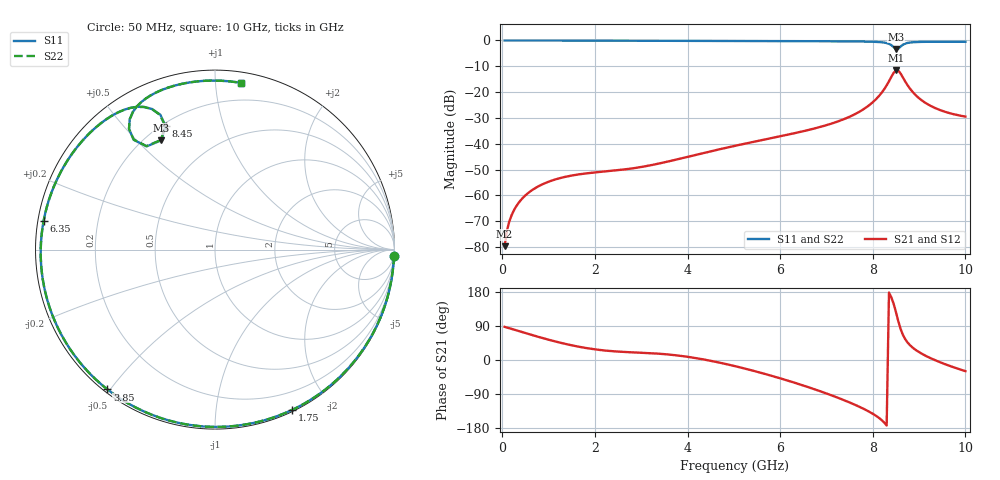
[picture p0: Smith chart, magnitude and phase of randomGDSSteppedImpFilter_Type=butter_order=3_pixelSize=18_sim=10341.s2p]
! freq	dB(S11)	phase(S11)	dB(S12)	phase(S12)
!  dB(S21)	phase(S21)	dB(S22)	phase(S22)
!S-par simulation data
#  GHz  S  DB  R 50
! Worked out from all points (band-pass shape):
!   200 points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, 50 MHz to 10 GHz, reference 50 ohm
!   highest |S21| = -11.56 dB at 8.5 GHz (marker M1); lowest = -79.7 dB at 50 MHz (marker M2)
!   |S21| within 3 dB of the highest: 8.388 GHz to 8.657 GHz (269.5 MHz wide, 3.16 % of centre)
!   lowest |S11| = -3.4 dB at 8.5 GHz (marker M3), VSWR 5.22, Z = 13.1 + j29.6 ohm
!   |S11| at or under -10 dB: nowhere
!   |S22| runs from -3.3 to 0.0 dB; largest |S21 - S12| = 0
!   S11 on the Smith chart (normalised r, x): 50 MHz: 4, -59; 1.75 GHz: 0.02, -1.59; 3.85 GHz: 0.01, -0.49; 6.35 GHz: 0.02, +0.08; 8.45 GHz: 0.21, +0.66; 10 GHz: 0.07, +1.16
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0.05  -0.02 -1.9  -79.68 87.5  -79.68 87.5  -0.02 -1.9
0.1  -0.02 -3.8  -73.71 85.8  -73.71 85.8  -0.02 -3.8
0.2  -0.02 -7.7  -67.74 82.2  -67.74 82.2  -0.02 -7.7
0.5  -0.03 -19.1  -60.00 71.0  -60.00 71.0  -0.03 -19.1
1  -0.05 -37.8  -54.72 53.5  -54.72 53.5  -0.05 -37.7
1.75  -0.08 -64.3  -51.64 32.8  -51.64 32.8  -0.08 -64.3
2.55  -0.11 -90.3  -50.15 21.8  -50.15 21.8  -0.11 -90.3
3.4  -0.13 -115.3  -47.62 16.5  -47.62 16.5  -0.13 -115.2
3.85  -0.15 -127.6  -45.75 10.9  -45.75 10.9  -0.15 -127.5
5.05  -0.20 -158.1  -40.72 -17.0  -40.72 -17.0  -0.20 -158.1
6.35  -0.28 170.5  -35.78 -61.4  -35.78 -61.4  -0.28 170.6
6.7  -0.31 162.0  -34.29 -75.5  -34.29 -75.5  -0.31 162.1
7.75  -0.43 135.2  -27.22 -125.7  -27.22 -125.7  -0.43 135.3
8.1  -0.59 124.5  -22.20 -149.8  -22.20 -149.8  -0.59 124.6
8.35  -1.33 114.1  -15.83 177.9  -15.83 177.9  -1.32 114.2
8.45  -2.60 111.8  -12.57 148.6  -12.57 148.6  -2.58 111.9
8.5  -3.37 116.2  -11.56 126.7  -11.56 126.7  -3.34 116.3
8.55  -3.23 123.5  -11.67 102.8  -11.67 102.8  -3.20 123.5
8.65  -1.67 125.5  -14.33 66.5  -14.33 66.5  -1.66 125.5
8.85  -0.73 116.4  -19.72 33.9  -19.72 33.9  -0.73 116.4
9.1  -0.55 107.5  -23.75 13.7  -23.75 13.7  -0.55 107.6
10  -0.54 81.2  -29.50 -29.4  -29.50 -29.4  -0.54 81.3
